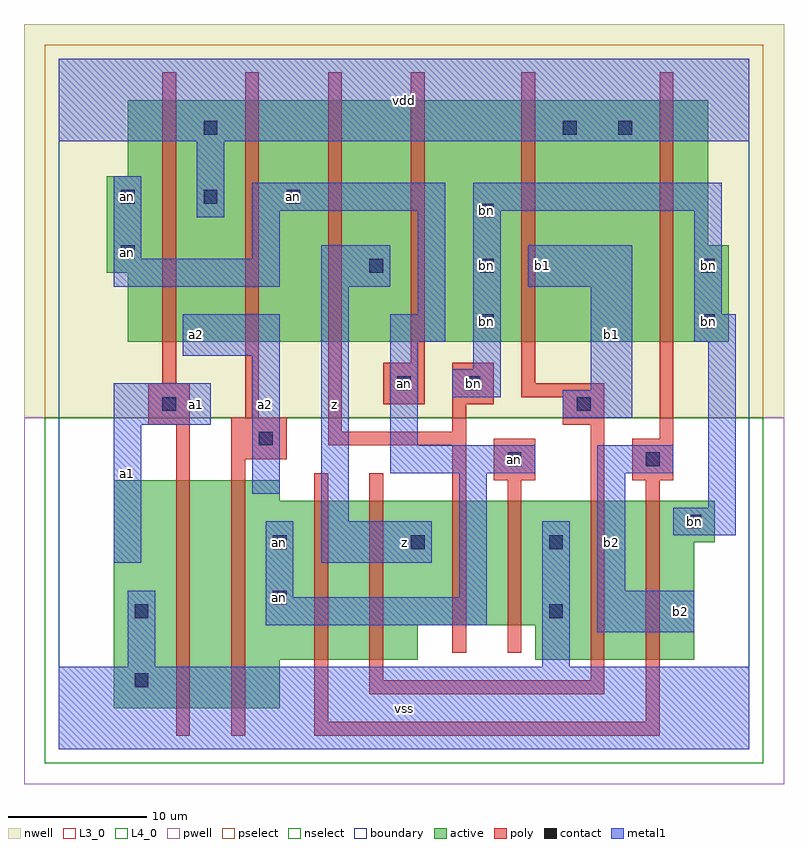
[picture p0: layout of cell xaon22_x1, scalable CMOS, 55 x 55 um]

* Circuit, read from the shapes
.subckt xaon22_x1 a1 a2 an b1 b2 bn vdd vss z
M1 n1 a1 vss VSUBS nfet w=16.5u l=1u
M2 an a2 n1 VSUBS nfet w=16.5u l=1u
M3 n2 b2 an VSUBS nfet w=11.5u l=1u
M4 z b1 n2 VSUBS nfet w=11.5u l=1u
M5 n3 bn z VSUBS nfet w=9u l=1u
M6 vss an n3 VSUBS nfet w=9u l=1u
M7 n4 b1 vss VSUBS nfet w=11.5u l=1u
M8 bn b2 n4 VSUBS nfet w=11.5u l=1u
M9 vdd a1 an n5 pfet w=17.5u l=1u
M10 an a2 vdd n5 pfet w=17.5u l=1u
M11 z bn an n5 pfet w=17.5u l=1u
M12 bn an z n5 pfet w=17.5u l=1u
M13 vdd b1 bn n5 pfet w=17.5u l=1u
M14 bn b2 vdd n5 pfet w=17.5u l=1u
.ends

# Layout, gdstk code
import gdstk
lib = gdstk.Library(unit=1e-6, precision=1e-09)
def R(c, l, rs):  # rectangles x0, y0, x1, y1
    for r in rs: c.add(gdstk.rectangle(r[:2], r[2:], *l))
def A(c, l, x, y, w, h, nx, ny, dx, dy):  # array of equal rectangles
    R(c, l, [(x+i*dx, y+j*dy, x+i*dx+w, y+j*dy+h) for i in range(nx) for j in range(ny)])
L3_0 = (3, 0)
L4_0 = (4, 0)
contact = (25, 0)
pwell = (41, 0)
nwell = (42, 0)
active = (43, 0)
pselect = (44, 0)
nselect = (45, 0)
poly = (46, 0)
metal1 = (49, 0)
boundary = (63, 0)

xaon22_x1 = lib.new_cell('xaon22_x1')
R(xaon22_x1, L3_0, [(4,3,16,6.5), (4,6.5,26,9), (34.5,6.5,46,9), (4,9,46,15), (4,15,47.5,18), (4,18,16,19.5)])
R(xaon22_x1, L4_0, [(5,29.5,48.5,34.5), (3.5,34.5,48.5,36.5), (3.5,36.5,47,41.5), (5,41.5,47,47)])
A(xaon22_x1, contact, 15.5, 14.5, 1, 1, 3, 1, 10, 0)
A(xaon22_x1, contact, 30.5, 30.5, 1, 1, 1, 3, 0, 4)
A(xaon22_x1, contact, 4.5, 39.5, 1, 1, 3, 1, 6, 0)
R(xaon22_x1, contact, [(5.5,4.5,6.5,5.5), (5.5,9.5,6.5,10.5), (35.5,9.5,36.5,10.5), (15.5,10.5,16.5,11.5), (45.5,16,46.5,17), (32.5,20.5,33.5,21.5), (42.5,20.5,43.5,21.5), (14.5,22,15.5,23), (7.5,24.5,8.5,25.5), (37.5,24.5,38.5,25.5), (24.5,26,25.5,27), (29.5,26,30.5,27), (46.5,30.5,47.5,31.5), (22.5,34.5,23.5,35.5), (46.5,34.5,47.5,35.5), (4.5,35.5,5.5,36.5), (10.5,44.5,11.5,45.5), (36.5,44.5,37.5,45.5), (40.5,44.5,41.5,45.5)])
R(xaon22_x1, pwell, [(-2.5,-2.5,52.5,24)])
R(xaon22_x1, nwell, [(-2.5,24,52.5,52.5)])
R(xaon22_x1, active, [(4,3,16,6.5), (4,6.5,26,9), (34.5,6.5,46,9), (4,9,46,15), (4,15,47.5,18), (4,18,16,19.5), (5,29.5,48.5,34.5), (3.5,34.5,48.5,36.5), (3.5,36.5,47,41.5), (5,41.5,47,47)])
R(xaon22_x1, pselect, [(-1,24,51,51)])
R(xaon22_x1, nselect, [(-1,-1,51,24)])
R(xaon22_x1, poly, [(8.5,1,9.5,23.5), (12.5,1,13.5,21), (18.5,1,43.5,2), (18.5,2,19.5,20), (42.5,2,43.5,19.5), (22.5,4,39.5,5), (22.5,5,23.5,20), (38.5,5,39.5,23.5), (28.5,7,29.5,22), (32.5,7,33.5,19.5), (31.5,19.5,34.5,22.5), (41.5,19.5,44.5,22.5), (12.5,21,16.5,24), (19.5,22,29.5,23), (43.5,22.5,44.5,49), (19.5,23,20.5,49), (28.5,23,29.5,25), (6.5,23.5,9.5,26.5), (36.5,23.5,39.5,25.5), (13.5,24,14.5,49), (23.5,25,26.5,28), (28.5,25,31.5,28), (33.5,25.5,39.5,26.5), (7.5,26.5,8.5,49), (33.5,26.5,34.5,49), (25.5,28,26.5,49)])
R(xaon22_x1, metal1, [(0,0,50,6), (0,0,50,6), (5,6,7,11.5), (5,6,7,11.5), (35,6,37,16.5), (35,6,37,16.5), (39,8.5,46,11.5), (39,8.5,46,11.5), (15,9,31,11), (15,9,31,11), (15,11,17,16.5), (15,11,17,16.5), (29,11,31,20), (29,11,31,20), (39,11.5,41,20), (39,11.5,41,20), (4,13.5,6,23.5), (4,13.5,6,23.5), (19,13.5,27,16.5), (19,13.5,27,16.5), (44.5,15.5,49,17.5), (44.5,15.5,49,17.5), (19,16.5,21,33.5), (19,16.5,21,33.5), (47,17.5,49,29.5), (47,17.5,49,29.5), (14,18.5,16,28.5), (14,18.5,16,28.5), (24,20,34.5,22), (24,20,34.5,22), (39,20,44.5,22), (39,20,44.5,22), (24,22,26,29.5), (24,22,26,29.5), (4,23.5,11,26.5), (4,23.5,11,26.5), (36.5,24,41.5,26), (36.5,24,41.5,26), (28.5,25.5,32,27.5), (28.5,25.5,32,27.5), (38.5,26,41.5,33.5), (38.5,26,41.5,33.5), (30,27.5,32,39), (30,27.5,32,39), (9,28.5,16,31.5), (9,28.5,16,31.5), (24,29.5,28,31.5), (24,29.5,28,31.5), (46,29.5,49,31.5), (46,29.5,49,31.5), (26,31.5,28,39), (26,31.5,28,39), (46,31.5,48,39), (46,31.5,48,39), (4,33.5,16,35.5), (4,33.5,16,35.5), (19,33.5,24,36.5), (19,33.5,24,36.5), (34,33.5,41.5,36.5), (34,33.5,41.5,36.5), (4,35.5,6,41.5), (4,35.5,6,41.5), (14,35.5,16,39), (14,35.5,16,39), (10,38.5,12,44), (10,38.5,12,44), (14,39,28,41), (14,39,28,41), (30,39,48,41), (30,39,48,41), (0,44,50,50), (0,44,50,50)])
R(xaon22_x1, boundary, [(0,0,50,50)])
xaon22_x1.add(gdstk.Label('an', (5,36), layer=49, texttype=0))
xaon22_x1.add(gdstk.Label('an', (5,40), layer=49, texttype=0))
xaon22_x1.add(gdstk.Label('an', (16,11), layer=49, texttype=0))
xaon22_x1.add(gdstk.Label('an', (16,15), layer=49, texttype=0))
xaon22_x1.add(gdstk.Label('an', (17,40), layer=49, texttype=0))
xaon22_x1.add(gdstk.Label('an', (33,21), layer=49, texttype=0))
xaon22_x1.add(gdstk.Label('bn', (30,26.5), layer=49, texttype=0))
xaon22_x1.add(gdstk.Label('an', (25,26.5), layer=49, texttype=0))
xaon22_x1.add(gdstk.Label('bn', (31,31), layer=49, texttype=0))
xaon22_x1.add(gdstk.Label('bn', (31,35), layer=49, texttype=0))
xaon22_x1.add(gdstk.Label('bn', (31,39), layer=49, texttype=0))
xaon22_x1.add(gdstk.Label('bn', (46,16.5), layer=49, texttype=0))
xaon22_x1.add(gdstk.Label('bn', (47,31), layer=49, texttype=0))
xaon22_x1.add(gdstk.Label('bn', (47,35), layer=49, texttype=0))
xaon22_x1.add(gdstk.Label('a1', (5,20), layer=49, texttype=0))
xaon22_x1.add(gdstk.Label('a1', (10,25), layer=49, texttype=0))
xaon22_x1.add(gdstk.Label('a2', (10,30), layer=49, texttype=0))
xaon22_x1.add(gdstk.Label('a2', (15,25), layer=49, texttype=0))
xaon22_x1.add(gdstk.Label('z', (20,25), layer=49, texttype=0))
xaon22_x1.add(gdstk.Label('vss', (25,3), layer=49, texttype=0))
xaon22_x1.add(gdstk.Label('z', (25,15), layer=49, texttype=0))
xaon22_x1.add(gdstk.Label('b1', (35,35), layer=49, texttype=0))
xaon22_x1.add(gdstk.Label('vdd', (25,47), layer=49, texttype=0))
xaon22_x1.add(gdstk.Label('b2', (45,10), layer=49, texttype=0))
xaon22_x1.add(gdstk.Label('b2', (40,15), layer=49, texttype=0))
xaon22_x1.add(gdstk.Label('b1', (40,30), layer=49, texttype=0))

lib.write_gds('xaon22_x1.gds')
